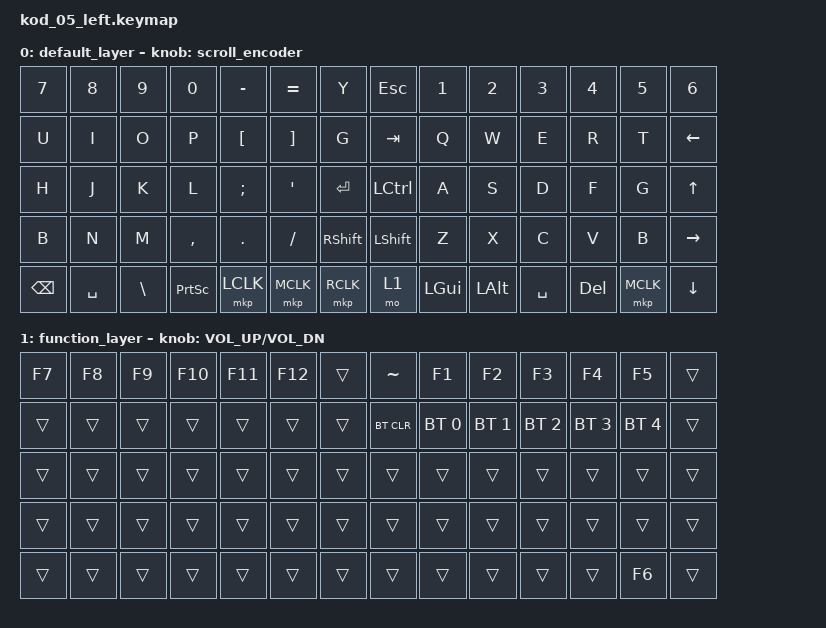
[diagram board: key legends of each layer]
#include <behaviors.dtsi>
#include <dt-bindings/zmk/keys.h>
// #include <dt-bindings/zmk/mouse.h>
#include <dt-bindings/zmk/bt.h>
#define ZMK_POINTING_DEFAULT_SCRL_VAL 150
#include <dt-bindings/zmk/pointing.h>

/ {
    behaviors {
        scrl_down: scrl_down {
            compatible = "zmk,behavior-macro";
            #binding-cells = <0>;
            wait-ms = <0>;
            tap-ms = <20>;
            bindings = <&msc SCRL_DOWN>;
        };
        scrl_up: scrl_up {
            compatible = "zmk,behavior-macro";
            #binding-cells = <0>;
            wait-ms = <0>;
            tap-ms = <20>;
            bindings = <&msc SCRL_UP>;
        };
        scroll_encoder: scroll_encoder {
            compatible = "zmk,behavior-sensor-rotate";
            #sensor-binding-cells = <0>;
            bindings = <&scrl_up>, <&scrl_down>;
        };
    };
  keymap {
    compatible = "zmk,keymap";

    // 実測した物理row/col対応表(右手が画像の「右」表、左手が「左」表)に基づく。
    // 1行 = グローバル14列 = [右手 col-offset0 の7列][左手 col-offset7 の7列]。
    default_layer {
    sensor-bindings = <&scroll_encoder>;
      bindings = <
        // row0: 右(7 8 9 0 - = Y) + 左(ESC 1 2 3 4 5 6)
        &kp N7    &kp N8    &kp N9    &kp N0    &kp MINUS &kp EQUAL &kp Y     &kp ESC   &kp N1    &kp N2    &kp N3    &kp N4    &kp N5    &kp N6
        // row1: 右(U I O P [ ] G) + 左(TAB Q W E R T DOWN)
        &kp U     &kp I     &kp O     &kp P     &kp LBKT  &kp RBKT  &kp G     &kp TAB   &kp Q     &kp W     &kp E     &kp R     &kp T     &kp LEFT
        // row2: 右(H J K L ; ' ENTER) + 左(CTRL A S D F G LEFT)
        &kp H     &kp J     &kp K     &kp L     &kp SEMI  &kp APOS  &kp RET   &kp LCTRL &kp A     &kp S     &kp D     &kp F     &kp G     &kp UP
        // row3: 右(B N M , . / SHIFT) + 左(SHIFT Z X C V B RIGHT)
        &kp B     &kp N     &kp M     &kp COMMA &kp DOT   &kp FSLH  &kp RSHFT &kp LSHFT &kp Z     &kp X     &kp C     &kp V     &kp B     &kp RIGHT
        // row4: 右(BS SPACE BACKSLASH PRTSCRN - - -) + 左(mo1 GUI ALT SPACE DEL wheel-click UP)
        &kp BSPC  &kp SPACE &kp BSLH  &kp PSCRN &mkp LCLK &mkp MCLK &mkp RCLK &mo 1     &kp LGUI  &kp LALT  &kp SPACE &kp DEL   &mkp MCLK &kp DOWN
      >;
    };

    function_layer {
      sensor-bindings = <&inc_dec_kp C_VOL_UP C_VOL_DN>;
      bindings = <
        // row0
        &kp F7    &kp F8    &kp F9    &kp F10   &kp F11   &kp F12   &trans    &kp TILDE &kp F1    &kp F2    &kp F3    &kp F4    &kp F5    &trans
        // row1
        &trans    &trans    &trans    &trans    &trans    &trans    &trans    &bt BT_CLR    &bt BT_SEL 0    &bt BT_SEL 1    &bt BT_SEL 2    &bt BT_SEL 3    &bt BT_SEL 4    &trans
        // row2
        &trans    &trans    &trans    &trans    &trans    &trans    &trans    &trans    &trans    &trans    &trans    &trans    &trans    &trans
        // row3
        &trans    &trans    &trans    &trans    &trans    &trans    &trans    &trans    &trans    &trans    &trans    &trans    &trans    &trans
        // row4
        &trans    &trans    &trans    &trans    &trans    &trans    &trans    &trans    &trans    &trans    &trans    &trans    &kp F6    &trans
      >;
    };
    combos {
        compatible = "zmk,combos";

        combo_right_boot {
            timeout-ms = <50>;
            /* 右手のEQUAL(row0,col5=位置5)とPRTSCRN(row4,col3=位置59) */
            key-positions = <5 59>;
            bindings = <&bootloader>;
        };
    };
  };
};
